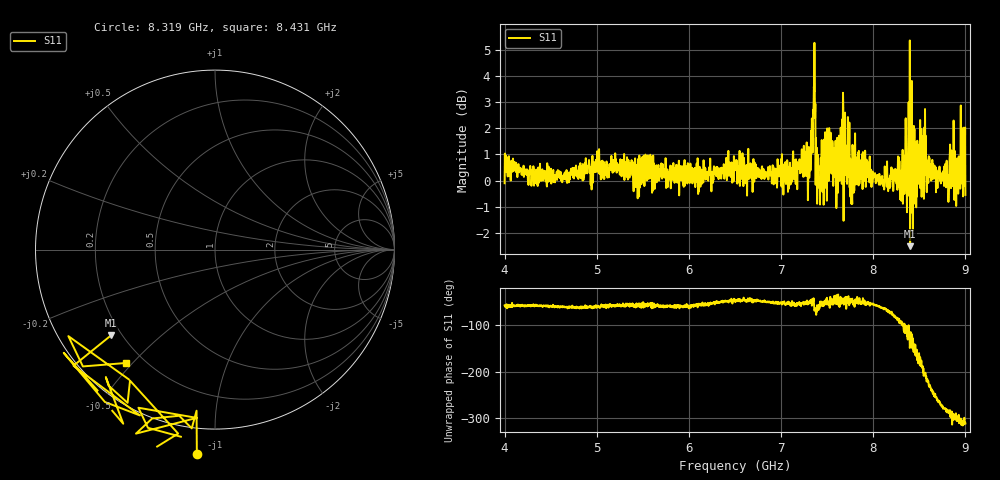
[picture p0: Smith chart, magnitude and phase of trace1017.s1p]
! Created with skrf 1.8.0 (http://scikit-rf.org).
# Hz S RI R 50.0
!freq ReS11 ImS11
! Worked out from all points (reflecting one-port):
!   1601 points, 4 GHz to 9 GHz, reference 50 ohm
!   lowest |S11| = -2.5 dB at 8.4 GHz (marker M1), VSWR 6.99, Z = 8.06 - j17.6 ohm
!   phase of S11 starts at -57 deg and turns -255 deg over the sweep
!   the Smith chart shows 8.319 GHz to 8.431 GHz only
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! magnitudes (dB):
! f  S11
! 4 GHz  -0.1
! 4.625 GHz  -0.1
! 5.25 GHz  0.2
! 5.875 GHz  -0.1
! 6.5 GHz  0.8
! 7.125 GHz  0.3
! 7.297 GHz  1.3
! 7.347 GHz  2.7
! 7.375 GHz  -0.2
! 7.4 GHz  1.0
! 7.412 GHz  0.0
! 7.525 GHz  1.0
! 7.609 GHz  1.6
! 7.669 GHz  1.6
! 7.75 GHz  0.8
! 7.769 GHz  -0.6
! 7.822 GHz  0.7
! 8.316 GHz  0.5
! 8.375 GHz  -0.6
! 8.4 GHz  -2.5
! 8.425 GHz  -0.5
! 8.544 GHz  1.1
! 8.606 GHz  0.2
! 8.8 GHz  0.1
! 8.853 GHz  0.8
! 8.919 GHz  0.6
! 8.972 GHz  0.3
! 9 GHz  -0.5
